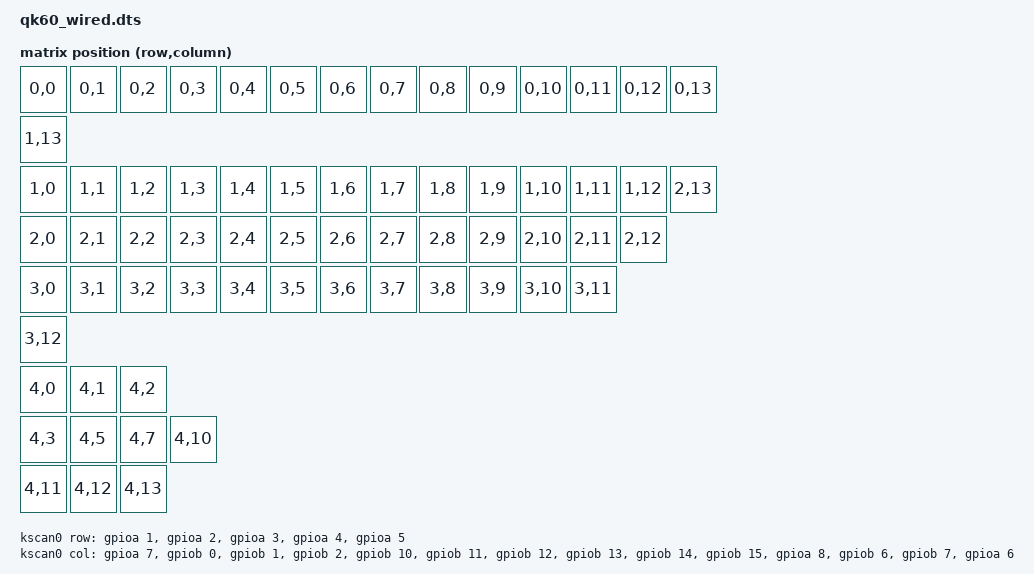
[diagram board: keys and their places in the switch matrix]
/*
* Copyright (c) 2023 The ZMK Contributors
* SPDX-License-Identifier: MIT
*/

/dts-v1/;

#include <st/f1/stm32f103Xb.dtsi>
#include <dt-bindings/zmk/matrix_transform.h>

#if __has_include(<transform/qk60_wired-transform-option.h>)
#include <transform/qk60_wired-transform-option.h>
#else

/*
 * selec option
 *  0=deselect
 *  1=select
 */
#define SPLIT_BS 0
#define SPLIT_RIGHT_SHIFT 0
#define SPLIT_SPACE 0

/*
 * options for bootom row
 */
#define BOTTOM_ROW_TSANGAN 0
#define BOTTOM_ROW_HHKB 1
#define BOTTOM_ROW_WKL 2

/*
 * choice of the options for bottom row
 */
#define BOTTOM_ROW BOTTOM_ROW_TSANGAN

#endif

/ {

    chosen {
        zephyr,sram = &sram0;
        zephyr,flash = &flash0;
        zephyr,console = &cdc_acm_uart;
        zephyr,shell-uart = &cdc_acm_uart;
        zephyr,code-partition = &code_partition;
        zmk,matrix_transform = &default_transform;
        zmk,kscan = &kscan0;
    };

    default_transform: default_transform {
        compatible = "zmk,matrix-transform";
        columns = <14>;
        rows = <5>;
        map = <
        // row 0
        RC(0,0) RC(0,1) RC(0,2) RC(0,3) RC(0,4) RC(0,5) RC(0,6) RC(0,7) RC(0,8) RC(0,9) RC(0,10) RC(0,11) RC(0,12) RC(0,13)
#if SPLIT_BS
        RC(1,13)
#endif

        // row 1
        RC(1,0) RC(1,1) RC(1,2) RC(1,3) RC(1,4) RC(1,5) RC(1,6) RC(1,7) RC(1,8) RC(1,9) RC(1,10) RC(1,11) RC(1,12) RC(2,13)

        // row 2
        RC(2,0) RC(2,1) RC(2,2) RC(2,3) RC(2,4) RC(2,5) RC(2,6) RC(2,7) RC(2,8) RC(2,9) RC(2,10) RC(2,11) RC(2,12)

        // row 3
        RC(3,0) RC(3,1) RC(3,2) RC(3,3) RC(3,4) RC(3,5) RC(3,6) RC(3,7) RC(3,8) RC(3,9) RC(3,10) RC(3,11)
#if SPLIT_RIGHT_SHIFT
        RC(3,12)
#endif

        // row 4 left modifiers
#if BOTTOM_ROW == BOTTOM_ROW_TSANGAN
        RC(4,0) RC(4,1) RC(4,2)
#elif BOTTOM_ROW == BOTTOM_ROW_HHKB
                RC(4,1) RC(4,2)
#elif BOTTOM_ROW == BOTTOM_ROW_WKL
        RC(4,0)        RC(4,2)
#endif

        // row 4 space
#if SPLIT_SPACE
        RC(4,3) RC(4,5) RC(4,7) RC(4,10)
#else
        RC(4,6)
#endif

        // row 4 right modifiers
#if BOTTOM_ROW == BOTTOM_ROW_TSANGAN
        RC(4,11) RC(4,12) RC(4,13)
#elif BOTTOM_ROW == BOTTOM_ROW_HHKB
        RC(4,11) RC(4,12)
#elif BOTTOM_ROW == BOTTOM_ROW_WKL
        RC(4,11)  RC(4,13)
#endif
        >;
    };

    kscan0: kscan {
        compatible = "zmk,kscan-gpio-matrix";
        diode-direction = "col2row";
        row-gpios
        = <&gpioa 1 (GPIO_ACTIVE_HIGH | GPIO_PULL_DOWN)>
        , <&gpioa 2 (GPIO_ACTIVE_HIGH | GPIO_PULL_DOWN)>
        , <&gpioa 3 (GPIO_ACTIVE_HIGH | GPIO_PULL_DOWN)>
        , <&gpioa 4 (GPIO_ACTIVE_HIGH | GPIO_PULL_DOWN)>
        , <&gpioa 5 (GPIO_ACTIVE_HIGH | GPIO_PULL_DOWN)>
        ;
        col-gpios
        = <&gpioa 7 GPIO_ACTIVE_HIGH>
        , <&gpiob 0 GPIO_ACTIVE_HIGH>
        , <&gpiob 1 GPIO_ACTIVE_HIGH>
        , <&gpiob 2 GPIO_ACTIVE_HIGH>
        , <&gpiob 10 GPIO_ACTIVE_HIGH>
        , <&gpiob 11 GPIO_ACTIVE_HIGH>
        , <&gpiob 12 GPIO_ACTIVE_HIGH>
        , <&gpiob 13 GPIO_ACTIVE_HIGH>
        , <&gpiob 14 GPIO_ACTIVE_HIGH>
        , <&gpiob 15 GPIO_ACTIVE_HIGH>
        , <&gpioa 8 GPIO_ACTIVE_HIGH>
        , <&gpiob 6 GPIO_ACTIVE_HIGH>
        , <&gpiob 7 GPIO_ACTIVE_HIGH>
        , <&gpioa 6 GPIO_ACTIVE_HIGH>
        ;
    };

    leds {
	    compatible = "gpio-leds";
	    caps_led: caps_led {
		    gpios = <&gpioa 0 GPIO_ACTIVE_LOW>;
		    label = "Caps Lock LED";
	    };
    };
};

&clk_hse {
	clock-frequency = <DT_FREQ_M(8)>;
	status = "okay";
};

&pll {
	mul = <9>;
	clocks = <&clk_hse>;
	status = "okay";
};

&rcc {
	status = "okay";
	clocks = <&pll>;
	clock-frequency = <DT_FREQ_M(72)>;
	ahb-prescaler = <1>;
	apb1-prescaler = <2>;
	apb2-prescaler = <1>;
};

&flash0 {
    partitions {
        compatible = "fixed-partitions";
        #address-cells = <1>;
        #size-cells = <1>;

        /*
         * unknown bootloader
         */
        boot_partition: partition@0 {
            label = "bootloader";
            reg = <0x0 DT_SIZE_K(24)>;
            read-only;
        };

        code_partition: partition@6000 {
            label = "code";
            reg = <DT_SIZE_K(24) (DT_SIZE_K(128) - DT_SIZE_K(24))>;
            read-only;
        };
    };
};

&usb {
    status = "okay";
    cdc_acm_uart: cdc_acm_uart {
        compatible = "zephyr,cdc-acm-uart";
    };
};
